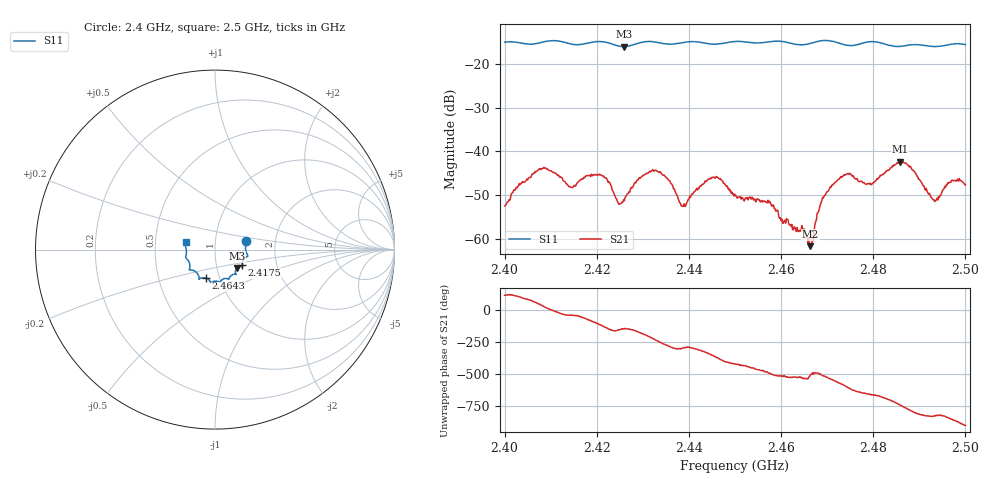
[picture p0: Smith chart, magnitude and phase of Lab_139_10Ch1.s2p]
# Hz S RI R 50
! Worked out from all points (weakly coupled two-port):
!   601 points, 2.4 GHz to 2.5 GHz, reference 50 ohm
!   highest |S21| = -42.36 dB at 2.4858 GHz (marker M1); lowest = -61.7 dB at 2.4663 GHz (marker M2)
!   lowest |S11| = -16.0 dB at 2.4258 GHz (marker M3), VSWR 1.38, Z = 62.2 - j13.2 ohm
!   |S11| at or under -10 dB: start of sweep to end of sweep
!   S12 and S22 are empty: the file has one direction only
!   S11 on the Smith chart (normalised r, x): 2.4 GHz: 1.41, +0.14; 2.4175 GHz: 1.33, -0.23; 2.4643 GHz: 0.86, -0.28; 2.5 GHz: 0.72, +0.06
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2.4e9  0.1733 0.0472  -0.00104 0.00213  0 0  0 0
2.408e9  0.1769 -0.0217  0.00509 0.0038  0 0  0 0
2.414333e9  0.1634 -0.05  0.00298 -0.0025  0 0  0 0
2.416667e9  0.1518 -0.075  0.00276 -0.00387  0 0  0 0
2.4175e9  0.1505 -0.0844  0.00199 -0.00474  0 0  0 0
2.421333e9  0.1532 -0.0971  -0.00315 -0.00413  0 0  0 0
2.425833e9  0.1209 -0.1035  -0.00236 -0.00148  0 0  0 0
2.433333e9  0.1125 -0.1371  -0.0025 0.00525  0 0  0 0
2.438833e9  0.0793 -0.1589  0.00102 0.00211  0 0  0 0
2.445333e9  0.052 -0.1616  0.00507 7.15e-05  0 0  0 0
2.45e9  0.0279 -0.1806  0.00146 -0.00287  0 0  0 0
2.457167e9  -0.0156 -0.1799  -0.00185 -0.00203  0 0  0 0
2.464333e9  -0.0499 -0.1596  -0.00118 -0.000271  0 0  0 0
2.466333e9  -0.073 -0.1573  -0.000708 -0.000409  0 0  0 0
2.466667e9  -0.0762 -0.158  -0.00068 -0.000484  0 0  0 0
2.469e9  -0.0885 -0.1648  -0.00269 -0.00127  0 0  0 0
2.4725e9  -0.0893 -0.1511  -0.00405 0.00257  0 0  0 0
2.4795e9  -0.1425 -0.1131  0.00223 0.00346  0 0  0 0
2.483333e9  -0.1397 -0.0893  0.00584 0.00168  0 0  0 0
2.485833e9  -0.1474 -0.0632  0.00685 -0.00333  0 0  0 0
2.493167e9  -0.1594 -0.0117  -0.000975 -0.00261  0 0  0 0
2.5e9  -0.1626 0.0426  -0.0041 0.000482  0 0  0 0
